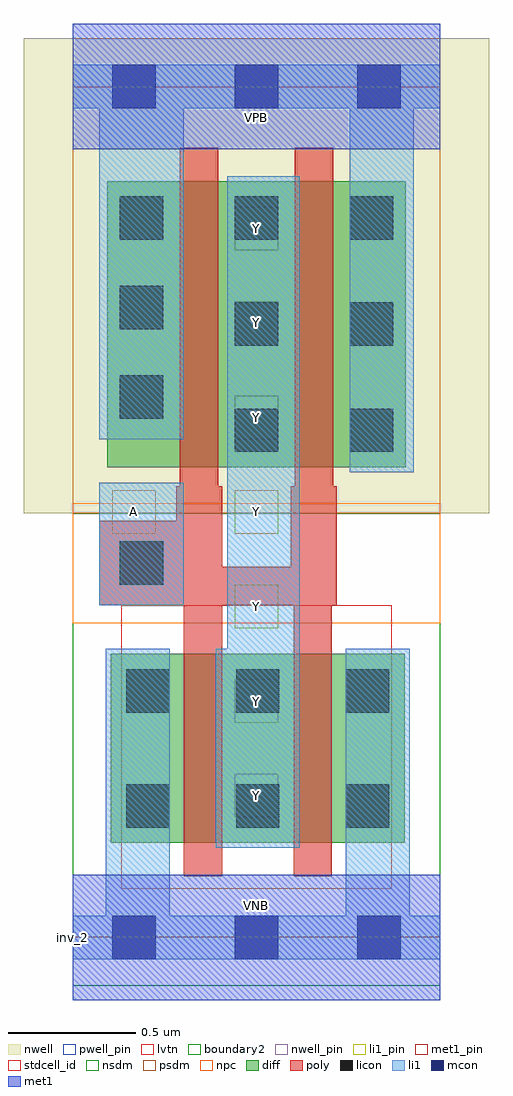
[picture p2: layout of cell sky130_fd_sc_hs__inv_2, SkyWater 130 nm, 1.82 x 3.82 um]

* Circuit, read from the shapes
.subckt sky130_fd_sc_hs__inv_2 A VGND VNB VPB VPWR Y
XM1 Y A VGND VNB sky130_fd_pr__nfet_01v8_lvt w=0.74 l=0.15 m=2
XM2 Y A VPWR VPB sky130_fd_pr__pfet_01v8 w=1.12 l=0.15 m=2
.ends

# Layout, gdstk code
import gdstk
lib = gdstk.Library(unit=1e-6, precision=1e-09)
def R(c, l, rs):  # rectangles x0, y0, x1, y1
    for r in rs: c.add(gdstk.rectangle(r[:2], r[2:], *l))
def A(c, l, x, y, w, h, nx, ny, dx, dy):  # array of equal rectangles
    R(c, l, [(x+i*dx, y+j*dy, x+i*dx+w, y+j*dy+h) for i in range(nx) for j in range(ny)])
def P(c, l, *ps):  # polygons
    for p in ps: c.add(gdstk.Polygon(p, *l))
nwell_pin = (64, 16)
nwell = (64, 20)
diff = (65, 20)
poly = (66, 20)
licon = (66, 44)
li1_pin = (67, 16)
li1 = (67, 20)
mcon = (67, 44)
met1_pin = (68, 16)
met1 = (68, 20)
stdcell_id = (81, 4)
nsdm = (93, 44)
psdm = (94, 20)
npc = (95, 20)
pwell_pin = (122, 16)
lvtn = (125, 44)
boundary2 = (236, 0)

sky130_fd_sc_hs__inv_2 = lib.new_cell('sky130_fd_sc_hs__inv_2')
R(sky130_fd_sc_hs__inv_2, nwell_pin, [(0,3.085,1.44,3.33)])
R(sky130_fd_sc_hs__inv_2, nwell, [(-0.19,1.66,1.63,3.52)])
R(sky130_fd_sc_hs__inv_2, diff, [(0.15,0.37,1.3,1.11), (0.135,1.84,1.305,2.96)])
P(sky130_fd_sc_hs__inv_2, poly, [(1.035,1.765),(1.02,1.765),(1.02,3.09),(0.87,3.09),(0.87,1.765),(0.855,1.765),(0.855,1.45),(0.585,1.45),(0.585,1.765),(0.57,1.765),(0.57,3.09),(0.42,3.09),(0.42,1.765),(0.405,1.765),(0.405,1.63),(0.105,1.63),(0.105,1.3),(0.435,1.3),(0.435,0.24),(0.585,0.24),(0.585,1.3),(0.865,1.3),(0.865,0.24),(1.015,0.24),(1.015,1.3),(1.035,1.3)])
A(sky130_fd_sc_hs__inv_2, licon, 0.21, 0.43, 0.17, 0.17, 3, 2, 0.43, 0.45)
A(sky130_fd_sc_hs__inv_2, licon, 0.185, 2.73, 0.17, 0.17, 3, 1, 0.45, 0)
R(sky130_fd_sc_hs__inv_2, licon, [(0.185,1.38,0.355,1.55), (0.635,1.9,0.805,2.07), (1.085,1.9,1.255,2.07), (0.185,2.03,0.355,2.2), (0.635,2.315,0.805,2.485), (1.085,2.315,1.255,2.485), (0.185,2.38,0.355,2.55)])
A(sky130_fd_sc_hs__inv_2, li1_pin, 0.635, 0.47, 0.17, 0.17, 1, 7, 0, 0.37)
R(sky130_fd_sc_hs__inv_2, li1_pin, [(0.155,1.58,0.325,1.75)])
R(sky130_fd_sc_hs__inv_2, li1, [(0.105,1.3,0.435,1.78)])
P(sky130_fd_sc_hs__inv_2, li1, [(0,-0.085),(0,0.085),(0.13,0.085),(0.13,1.13),(0.38,1.13),(0.38,0.085),(1.07,0.085),(1.07,1.13),(1.32,1.13),(1.32,0.085),(1.44,0.085),(1.44,-0.085)],
  [(0,3.245),(0,3.415),(1.44,3.415),(1.44,3.245),(1.335,3.245),(1.335,1.82),(1.085,1.82),(1.085,3.245),(0.435,3.245),(0.435,1.95),(0.105,1.95),(0.105,3.245)],
  [(0.605,1.13),(0.605,2.98),(0.89,2.98),(0.89,0.35),(0.56,0.35),(0.56,1.13)])
A(sky130_fd_sc_hs__inv_2, mcon, 0.155, -0.085, 0.17, 0.17, 3, 2, 0.48, 3.33)
R(sky130_fd_sc_hs__inv_2, met1_pin, [(0,0,1.44,0.245), (0,3.085,1.44,3.33)])
R(sky130_fd_sc_hs__inv_2, met1, [(0,-0.245,1.44,0.245), (0,3.085,1.44,3.575)])
R(sky130_fd_sc_hs__inv_2, stdcell_id, [(0,0,1.44,3.33)])
R(sky130_fd_sc_hs__inv_2, nsdm, [(0,-0.19,1.44,1.66)])
R(sky130_fd_sc_hs__inv_2, psdm, [(0,1.66,1.44,3.52)])
R(sky130_fd_sc_hs__inv_2, npc, [(0,1.23,1.44,1.7)])
R(sky130_fd_sc_hs__inv_2, pwell_pin, [(0,0,1.44,0.245)])
R(sky130_fd_sc_hs__inv_2, lvtn, [(0.19,0.19,1.25,1.3)])
R(sky130_fd_sc_hs__inv_2, boundary2, [(0,0,1.44,3.33)])
sky130_fd_sc_hs__inv_2.add(gdstk.Label('inv_2', (0,0), layer=83, texttype=44))
sky130_fd_sc_hs__inv_2.add(gdstk.Label('VNB', (0.72,0.123), layer=64, texttype=59))
sky130_fd_sc_hs__inv_2.add(gdstk.Label('VPB', (0.72,3.208), layer=64, texttype=5))
sky130_fd_sc_hs__inv_2.add(gdstk.Label('VPWR', (0.72,3.208), layer=68, texttype=5))
sky130_fd_sc_hs__inv_2.add(gdstk.Label('VGND', (0.72,0.123), layer=68, texttype=5))
sky130_fd_sc_hs__inv_2.add(gdstk.Label('A', (0.24,1.665), layer=67, texttype=5))
sky130_fd_sc_hs__inv_2.add(gdstk.Label('Y', (0.72,0.555), layer=67, texttype=5))
sky130_fd_sc_hs__inv_2.add(gdstk.Label('Y', (0.72,0.925), layer=67, texttype=5))
sky130_fd_sc_hs__inv_2.add(gdstk.Label('Y', (0.72,1.295), layer=67, texttype=5))
sky130_fd_sc_hs__inv_2.add(gdstk.Label('Y', (0.72,1.665), layer=67, texttype=5))
sky130_fd_sc_hs__inv_2.add(gdstk.Label('Y', (0.72,2.035), layer=67, texttype=5))
sky130_fd_sc_hs__inv_2.add(gdstk.Label('Y', (0.72,2.405), layer=67, texttype=5))
sky130_fd_sc_hs__inv_2.add(gdstk.Label('Y', (0.72,2.775), layer=67, texttype=5))

lib.write_gds('sky130_fd_sc_hs__inv_2.gds')
